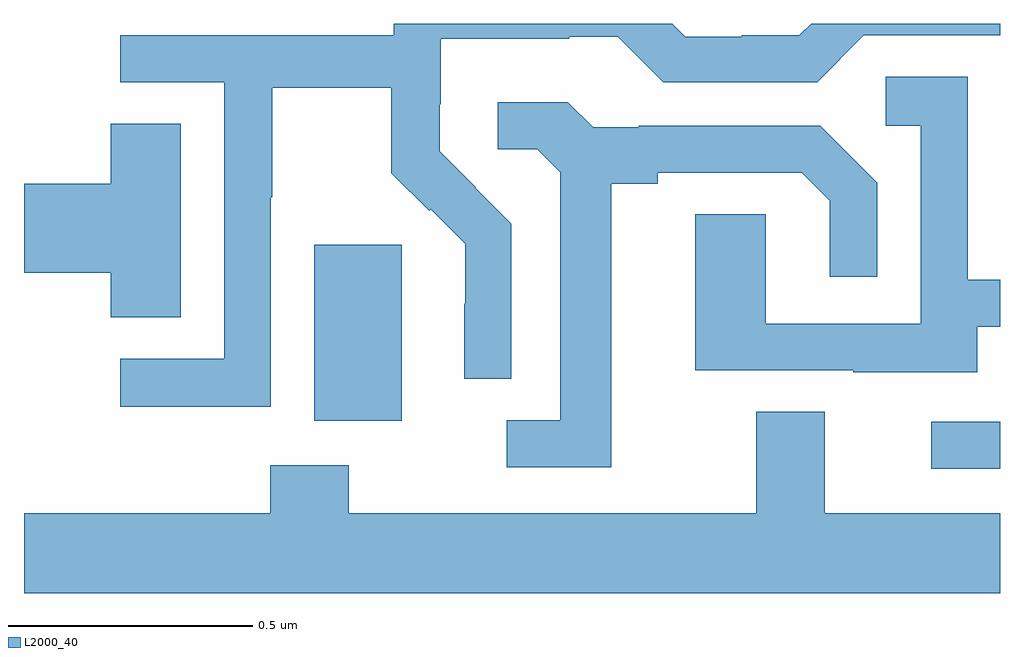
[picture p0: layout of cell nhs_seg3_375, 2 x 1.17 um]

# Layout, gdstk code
import gdstk
lib = gdstk.Library(unit=1e-6, precision=1e-09)
def R(c, l, rs):  # rectangles x0, y0, x1, y1
    for r in rs: c.add(gdstk.rectangle(r[:2], r[2:], *l))
def P(c, l, *ps):  # polygons
    for p in ps: c.add(gdstk.Polygon(p, *l))
L2000_40 = (2000, 40)

nhs_seg3_375 = lib.new_cell('nhs_seg3_375')
R(nhs_seg3_375, L2000_40, [(116.859,718.488,117,718.584), (115.595,718.586,115.774,718.947)])
P(nhs_seg3_375, L2000_40, [(115.506,719.044),(115.509,719.044),(115.509,719.268),(115.753,719.268),(115.753,719.093),(115.83,719.016),(115.833,719.019),(115.904,718.949),(115.904,718.826),(115.902,718.826),(115.902,718.672),(115.998,718.672),(115.998,718.99),(115.925,719.063),(115.926,719.064),(115.852,719.138),(115.852,719.235),(115.854,719.235),(115.854,719.369),(116.117,719.369),(116.117,719.373),(116.217,719.373),(116.31,719.28),(116.625,719.28),(116.721,719.376),(117,719.376),(117,719.4),(116.613,719.4),(116.589,719.376),(116.471,719.376),(116.471,719.373),(116.355,719.373),(116.328,719.4),(115.758,719.4),(115.758,719.376),(115.197,719.376),(115.197,719.28),(115.41,719.28),(115.41,718.713),(115.197,718.713),(115.197,718.615),(115.506,718.615)],
  [(116.953,718.779),(117,718.779),(117,718.875),(116.934,718.875),(116.934,719.291),(116.766,719.291),(116.766,719.19),(116.838,719.19),(116.838,718.785),(116.52,718.785),(116.52,719.009),(116.375,719.009),(116.375,718.689),(116.699,718.689),(116.699,718.685),(116.953,718.685)],
  [(116.203,719.072),(116.299,719.072),(116.299,719.094),(116.594,719.094),(116.651,719.037),(116.651,718.881),(116.748,718.881),(116.748,719.074),(116.632,719.19),(116.26,719.19),(116.26,719.187),(116.166,719.187),(116.114,719.239),(115.971,719.239),(115.971,719.142),(116.052,719.142),(116.099,719.095),(116.099,718.587),(115.989,718.587),(115.989,718.491),(116.203,718.491)],
  [(115.321,719.195),(115.178,719.195),(115.178,719.072),(115,719.072),(115,718.889),(115.178,718.889),(115.178,718.798),(115.321,718.798)],
  [(117,718.396),(116.641,718.396),(116.641,718.604),(116.501,718.604),(116.501,718.396),(115.665,718.396),(115.665,718.495),(115.505,718.495),(115.505,718.396),(115,718.396),(115,718.232),(117,718.232)])

lib.write_gds('nhs_seg3_375.gds')
